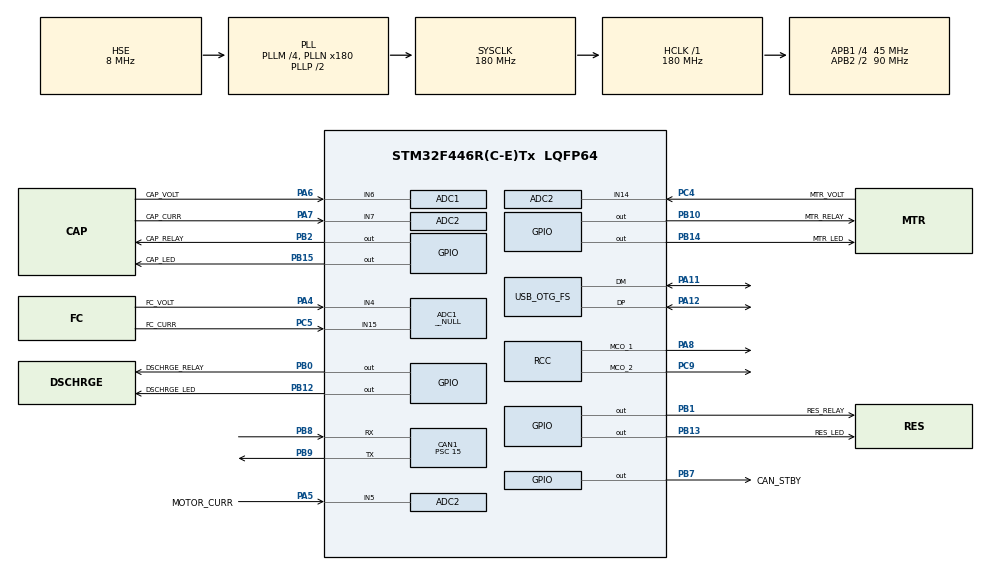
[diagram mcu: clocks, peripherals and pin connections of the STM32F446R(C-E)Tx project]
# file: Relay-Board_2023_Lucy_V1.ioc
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ADC1.Channel-0\#ChannelRegularConversion=ADC_CHANNEL_4
ADC1.Channel-1\#ChannelRegularConversion=ADC_CHANNEL_6
ADC1.Channel-2\#ChannelRegularConversion=ADC_CHANNEL_15
ADC1.ClockPrescaler=ADC_CLOCK_SYNC_PCLK_DIV4
ADC1.ContinuousConvMode=ENABLE
ADC1.DMAContinuousRequests=ENABLE
ADC1.EOCSelection=ADC_EOC_SINGLE_CONV
ADC1.Mode=__NULL
ADC1.NbrOfConversion=3
ADC1.NbrOfConversionFlag=1
ADC1.Rank-0\#ChannelRegularConversion=1
ADC1.Rank-1\#ChannelRegularConversion=2
ADC1.Rank-2\#ChannelRegularConversion=3
ADC1.SamplingTime-0\#ChannelRegularConversion=ADC_SAMPLETIME_480CYCLES
ADC1.SamplingTime-1\#ChannelRegularConversion=ADC_SAMPLETIME_480CYCLES
ADC1.SamplingTime-2\#ChannelRegularConversion=ADC_SAMPLETIME_480CYCLES
ADC1.ScanConvMode=ENABLE
ADC1.master=1
ADC2.Channel-0\#ChannelRegularConversion=ADC_CHANNEL_5
ADC2.Channel-1\#ChannelRegularConversion=ADC_CHANNEL_7
ADC2.Channel-2\#ChannelRegularConversion=ADC_CHANNEL_14
ADC2.ContinuousConvMode=ENABLE
ADC2.NbrOfConversion=3
ADC2.NbrOfConversionFlag=1
ADC2.Rank-0\#ChannelRegularConversion=1
ADC2.Rank-1\#ChannelRegularConversion=2
ADC2.Rank-2\#ChannelRegularConversion=3
ADC2.SamplingTime-0\#ChannelRegularConversion=ADC_SAMPLETIME_3CYCLES
ADC2.SamplingTime-1\#ChannelRegularConversion=ADC_SAMPLETIME_3CYCLES
ADC2.SamplingTime-2\#ChannelRegularConversion=ADC_SAMPLETIME_3CYCLES
ADC2.ScanConvMode=ENABLE
CAN1.BS1=CAN_BS1_1TQ
CAN1.BS2=CAN_BS2_1TQ
CAN1.CalculateBaudRate=1000000
CAN1.CalculateTimeBit=1000
CAN1.CalculateTimeQuantum=333.3333333333333
CAN1.Mode=CAN_MODE_LOOPBACK
CAN1.Prescaler=15
Dma.ADC1.1.Direction=DMA_PERIPH_TO_MEMORY
Dma.ADC1.1.FIFOMode=DMA_FIFOMODE_DISABLE
Dma.ADC1.1.Instance=DMA2_Stream0
Dma.ADC1.1.MemDataAlignment=DMA_MDATAALIGN_HALFWORD
Dma.ADC1.1.MemInc=DMA_MINC_ENABLE
Dma.ADC1.1.Mode=DMA_CIRCULAR
Dma.ADC1.1.PeriphDataAlignment=DMA_PDATAALIGN_HALFWORD
Dma.ADC1.1.PeriphInc=DMA_PINC_DISABLE
Dma.ADC1.1.Priority=DMA_PRIORITY_LOW
Dma.ADC2.0.Direction=DMA_PERIPH_TO_MEMORY
Dma.ADC2.0.FIFOMode=DMA_FIFOMODE_DISABLE
Dma.ADC2.0.Instance=DMA2_Stream2
Dma.ADC2.0.MemDataAlignment=DMA_MDATAALIGN_HALFWORD
Dma.ADC2.0.MemInc=DMA_MINC_ENABLE
Dma.ADC2.0.Mode=DMA_CIRCULAR
Dma.ADC2.0.PeriphDataAlignment=DMA_PDATAALIGN_HALFWORD
Dma.ADC2.0.PeriphInc=DMA_PINC_DISABLE
Dma.ADC2.0.Priority=DMA_PRIORITY_LOW
Dma.Request0=ADC2
Dma.Request1=ADC1
FREERTOS.BinarySemaphores01=canMsgReceivedSem,Dynamic,NULL
FREERTOS.HEAP_NUMBER=4
FREERTOS.Queues01=canRxMsgQueue,32,uint32_t,0,Dynamic,NULL,NULL
FREERTOS.Tasks01=RelayTask,24,128,StartRelayTask,Default,NULL,Static,RelayTaskBuffer,RelayTaskControlBlock;CanTask,24,128,StartCanTask,Default,NULL,Static,CanTaksBuffer,CanTaksControlBlock;AdcTask,24,128,StartAdcTask,Default,NULL,Static,AdcTaskBuffer,AdcTaskControlBlock
FREERTOS.configENABLE_FPU=1
FREERTOS.configUSE_NEWLIB_REENTRANT=1
Mcu.Family=STM32F4
Mcu.Name=STM32F446R(C-E)Tx
Mcu.Package=LQFP64
NVIC.ADC_IRQn=true\:5\:0\:false\:false\:true\:true\:true\:true\:true
NVIC.CAN1_RX0_IRQn=true\:5\:0\:false\:false\:true\:true\:true\:true\:true
NVIC.CAN1_RX1_IRQn=true\:5\:0\:false\:false\:true\:true\:true\:true\:true
NVIC.CAN1_TX_IRQn=true\:5\:0\:false\:false\:true\:true\:true\:true\:true
NVIC.DMA2_Stream0_IRQn=true\:5\:0\:false\:false\:true\:true\:false\:true\:true
NVIC.DMA2_Stream2_IRQn=true\:5\:0\:false\:false\:true\:true\:false\:true\:true
NVIC.OTG_FS_IRQn=true\:5\:0\:false\:false\:true\:true\:false\:true\:true
NVIC.PriorityGroup=NVIC_PRIORITYGROUP_4
NVIC.TIM1_UP_TIM10_IRQn=true\:15\:0\:false\:false\:true\:false\:false\:true\:true
NVIC.TimeBase=TIM1_UP_TIM10_IRQn
NVIC.TimeBaseIP=TIM1
PA11.Mode=Device_Only
PA11.Signal=USB_OTG_FS_DM
PA12.Mode=Device_Only
PA12.Signal=USB_OTG_FS_DP
PA13.Mode=Serial_Wire
PA13.Signal=SYS_JTMS-SWDIO
PA14.Mode=Serial_Wire
PA14.Signal=SYS_JTCK-SWCLK
PA4.GPIO_Label=FC_VOLT
PA4.Signal=ADCx_IN4
PA5.GPIO_Label=MOTOR_CURR
PA5.Signal=ADCx_IN5
PA6.GPIO_Label=CAP_VOLT
PA6.Signal=ADCx_IN6
PA7.GPIO_Label=CAP_CURR
PA7.Signal=ADCx_IN7
PA8.Mode=Clock-out-1
PA8.Signal=RCC_MCO_1
PB0.GPIO_Label=DSCHRGE_RELAY
PB0.Signal=GPIO_Output
PB1.GPIO_Label=RES_RELAY
PB1.Signal=GPIO_Output
PB10.GPIO_Label=MTR_RELAY
PB10.Signal=GPIO_Output
PB12.GPIO_Label=DSCHRGE_LED
PB12.Signal=GPIO_Output
PB13.GPIO_Label=RES_LED
PB13.Signal=GPIO_Output
PB14.GPIO_Label=MTR_LED
PB14.Signal=GPIO_Output
PB15.GPIO_Label=CAP_LED
PB15.Signal=GPIO_Output
PB2.GPIO_Label=CAP_RELAY
PB2.Signal=GPIO_Output
PB7.GPIO_Label=CAN_STBY
PB7.Signal=GPIO_Output
PB8.GPIO_PuPd=GPIO_PULLUP
PB8.Mode=CAN_Activate
PB8.Signal=CAN1_RX
PB9.GPIO_PuPd=GPIO_PULLUP
PB9.Mode=CAN_Activate
PB9.Signal=CAN1_TX
PC4.GPIO_Label=MTR_VOLT
PC4.Signal=ADCx_IN14
PC5.GPIO_Label=FC_CURR
PC5.Signal=ADCx_IN15
PC9.Mode=Clock-out-2
PC9.Signal=RCC_MCO_2
PH0-OSC_IN.Mode=HSE-External-Clock-Source
PH0-OSC_IN.Signal=RCC_OSC_IN
PH1-OSC_OUT.Mode=HSE-External-Clock-Source
PH1-OSC_OUT.Signal=RCC_OSC_OUT
ProjectManager.HeapSize=0x200
ProjectManager.StackSize=0x400
ProjectManager.TargetToolchain=Makefile
RCC.AHBFreq_Value=180000000
RCC.APB1CLKDivider=RCC_HCLK_DIV4
RCC.APB1Freq_Value=45000000
RCC.APB1TimFreq_Value=90000000
RCC.APB2CLKDivider=RCC_HCLK_DIV2
RCC.APB2Freq_Value=90000000
RCC.APB2TimFreq_Value=180000000
RCC.CortexFreq_Value=180000000
RCC.HCLKFreq_Value=180000000
RCC.HSE_VALUE=8000000
RCC.PLLM=4
RCC.PLLN=180
RCC.PLLQ=5
RCC.PLLSAIM=4
RCC.PLLSAIN=96
RCC.PLLSAIP=RCC_PLLSAIP_DIV4
RCC.RCC_MCO1Source=RCC_MCO1SOURCE_HSE
RCC.RCC_MCODiv2=RCC_MCODIV_5
RCC.SYSCLKFreq_VALUE=180000000
RCC.SYSCLKSource=RCC_SYSCLKSOURCE_PLLCLK
RCC.USBCLockSelection=RCC_CLK48CLKSOURCE_PLLSAIP
RCC.USBFreq_Value=48000000
RCC.VCOOutputFreq_Value=360000000
SH.ADCx_IN14.0=ADC2_IN14,IN14
SH.ADCx_IN15.0=ADC1_IN15,IN15
SH.ADCx_IN4.0=ADC1_IN4,IN4
SH.ADCx_IN5.0=ADC2_IN5,IN5
SH.ADCx_IN6.0=ADC1_IN6,IN6
SH.ADCx_IN7.0=ADC2_IN7,IN7
USB_DEVICE.CLASS_NAME_FS=CDC
USB_DEVICE.VirtualMode-CDC_FS=Cdc
USB_DEVICE.VirtualModeFS=Cdc_FS
USB_OTG_FS.VirtualMode=Device_Only
VP_FREERTOS_VS_CMSIS_V2.Mode=CMSIS_V2
VP_SYS_VS_tim1.Mode=TIM1
VP_USB_DEVICE_VS_USB_DEVICE_CDC_FS.Mode=CDC_FS
board=custom

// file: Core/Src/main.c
/* USER CODE BEGIN Header */
/**
 ******************************************************************************
 * @file           : main.c
 * @brief          : Main program body
 ******************************************************************************
 * @attention
 *
 * Copyright (c) 2024 STMicroelectronics.
 * All rights reserved.
 *
 * This software is licensed under terms that can be found in the LICENSE file
 * in the root directory of this software component.
 * If no LICENSE file comes with this software, it is provided AS-IS.
 *
 ******************************************************************************
 */
/* USER CODE END Header */
#include "main.h"
#include "cmsis_os.h"
#include "cmsis_os2.h"
#include "stm32f4xx_hal_adc.h"
#include "stm32f4xx_hal_can.h"
#include "usb_device.h"

/* USER CODE BEGIN Includes */
#include "canid.h"
#include "usbd_cdc_if.h"
#include <stdint.h>
/* USER CODE END Includes */

typedef StaticTask_t osStaticThreadDef_t;
/* USER CODE BEGIN PTD */
typedef enum {
  ALL_RELAY_OFF = 0x00,
  CAP_RELAY = 0x01,
  RES_RELAY = 0x02,
  DSCHRGE_RELAY = 0x04,
  MTR_RELAY = 0x08,
} relayBit_t;

typedef enum {
  RELAY_STBY = ALL_RELAY_OFF,
  RELAY_STRTP = RES_RELAY | DSCHRGE_RELAY,
  RELAY_CHRGE = RES_RELAY,
  RELAY_RUN = CAP_RELAY | DSCHRGE_RELAY | MTR_RELAY,
} rbState_t;

typedef struct {
  float fc_volt;
  float fc_curr;
  float mtr_volt;
  float mtr_curr;
  float cap_volt;
  float cap_curr;
} rbData_t;

typedef struct {
  uint8_t H2_OK;
} canData_t;

/* USER CODE END PTD */

/* USER CODE BEGIN PD */
#define CAN_MESSAGE_SENT_TIMEOUT_MS 500
#define CAN_ADD_TX_TIMEOUT_MS 5000

#define FULL_CAP_CHARGE_V 18

#define CAN_TX_MAILBOX_NONE 0x00000000U // Remove reference to tx mailbox
/* USER CODE END PD */

ADC_HandleTypeDef hadc1;
ADC_HandleTypeDef hadc2;
DMA_HandleTypeDef hdma_adc1;
DMA_HandleTypeDef hdma_adc2;

CAN_HandleTypeDef hcan1;

/* Definitions for RelayTask */
osThreadId_t RelayTaskHandle;
uint32_t RelayTaskBuffer[128];
osStaticThreadDef_t RelayTaskControlBlock;
const osThreadAttr_t RelayTask_attributes = {
    .name = "RelayTask",
    .cb_mem = &RelayTaskControlBlock,
    .cb_size = sizeof(RelayTaskControlBlock),
    .stack_mem = &RelayTaskBuffer[0],
    .stack_size = sizeof(RelayTaskBuffer),
    .priority = (osPriority_t)osPriorityNormal,
};
/* Definitions for CanTask */
osThreadId_t CanTaskHandle;
uint32_t CanTaskBuffer[128];
osStaticThreadDef_t CanTaksControlBlock;
const osThreadAttr_t CanTask_attributes = {
    .name = "CanTask",
    .cb_mem = &CanTaksControlBlock,
    .cb_size = sizeof(CanTaksControlBlock),
    .stack_mem = &CanTaskBuffer[0],
    .stack_size = sizeof(CanTaskBuffer),
    .priority = (osPriority_t)osPriorityNormal,
};
/* Definitions for AdcTask */
osThreadId_t AdcTaskHandle;
uint32_t AdcTaskBuffer[128];
osStaticThreadDef_t AdcTaskControlBlock;
const osThreadAttr_t AdcTask_attributes = {
    .name = "AdcTask",
    .cb_mem = &AdcTaskControlBlock,
    .cb_size = sizeof(AdcTaskControlBlock),
    .stack_mem = &AdcTaskBuffer[0],
    .stack_size = sizeof(AdcTaskBuffer),
    .priority = (osPriority_t)osPriorityNormal,
};
/* Definitions for canRxMsgQueue */
osMessageQueueId_t canRxMsgQueueHandle;
const osMessageQueueAttr_t canRxMsgQueue_attributes = {.name = "canRxMsgQueue"};
/* Definitions for canMsgReceivedSem */
osSemaphoreId_t canMsgReceivedSemHandle;
const osSemaphoreAttr_t canMsgReceivedSem_attributes = {
    .name = "canMsgReceivedSem"};
/* USER CODE BEGIN PV */
rbState_t rb_state = RELAY_STBY;
rbData_t relay_board_data;

volatile uint16_t adc1Results[3];
volatile uint16_t adc2Results[3];

CAN_RxHeaderTypeDef RxHeader;
uint8_t RxData[8];
uint32_t TxMailboxCanTask;
/* USER CODE END PV */

void SystemClock_Config(void);
static void MX_GPIO_Init(void);
static void MX_DMA_Init(void);
static void MX_CAN1_Init(void);
static void MX_ADC1_Init(void);
static void MX_ADC2_Init(void);
void StartRelayTask(void *argument);
void StartCanTask(void *argument);
void StartAdcTask(void *argument);

/* USER CODE BEGIN PFP */
int _write(int file, char *ptr, int len) {
  CDC_Transmit_FS((uint8_t *)ptr, (uint16_t)len);
  return len;
}

/**
 * The canRxMsqQueue is 32 items each slot with 4 bytes
 * in it. The StdID is a uint32_t according to HAL and the
 * RxData is 8 items of 1 byte each. Thus osMessageQueuePut
 * will add 4 items from RxData when you pass the pointer
 * to it.
 */
void HAL_CAN_RxFifo0MsgPendingCallback(CAN_HandleTypeDef *hcan) {
  HAL_CAN_GetRxMessage(hcan, CAN_RX_FIFO0, &RxHeader, RxData);
  if (osMessageQueueGetSpace(canRxMsgQueueHandle) == 0) {
    Error_Handler();
  }
  osMessageQueuePut(canRxMsgQueueHandle, &RxHeader.StdId, 0U, 0UL);
  // need condition for either 4 byte or 8 byte
  if (RxHeader.DLC == 0UL) {
    // Data request, don't add anything else to queue
  } else if (RxHeader.DLC <= 4UL) {
    osMessageQueuePut(canRxMsgQueueHandle, RxData, 0U, 0UL);
  } else {
    osMessageQueuePut(canRxMsgQueueHandle, RxData, 0U, 0UL);
    osMessageQueuePut(canRxMsgQueueHandle, RxData + 4, 0U, 0UL);
  }
}

void HAL_CAN_RxFifo1MsgPendingCallback(CAN_HandleTypeDef *hcan) {
  HAL_CAN_GetRxMessage(hcan, CAN_RX_FIFO1, &RxHeader, RxData);
  osMessageQueuePut(canRxMsgQueueHandle, &RxHeader.StdId, 0U, 0UL);
  // need condition for either 4 byte or 8 byte
  if (RxHeader.DLC == 0UL) {
    // Data request, don't add anything else to queue
  } else if (RxHeader.DLC <= 4UL) {
    osMessageQueuePut(canRxMsgQueueHandle, RxData, 0U, 0UL);
  } else {
    osMessageQueuePut(canRxMsgQueueHandle, RxData, 0U, 0UL);
    osMessageQueuePut(canRxMsgQueueHandle, RxData + 4, 0U, 0UL);
  }
}

/* Transmit Completed Callbacks for Message Sent Confirmations */
void HAL_CAN_TxMailbox0CompleteCallback(CAN_HandleTypeDef *hcan) {
  if (TxMailboxCanTask == CAN_TX_MAILBOX0) {
    osSemaphoreRelease(canMsgReceivedSemHandle);
    TxMailboxCanTask = CAN_TX_MAILBOX_NONE;
  }
}
void HAL_CAN_TxMailbox1CompleteCallback(CAN_HandleTypeDef *hcan) {
  if (TxMailboxCanTask == CAN_TX_MAILBOX1) {
    osSemaphoreRelease(canMsgReceivedSemHandle);
    TxMailboxCanTask = CAN_TX_MAILBOX_NONE;
  }
}
void HAL_CAN_TxMailbox2CompleteCallback(CAN_HandleTypeDef *hcan) {
  if (TxMailboxCanTask == CAN_TX_MAILBOX2) {
    osSemaphoreRelease(canMsgReceivedSemHandle);
    TxMailboxCanTask = CAN_TX_MAILBOX_NONE;
  }
}

// Counter for both DMA conversions to be Completed
// Utilized in ADC Thread below
uint32_t conversion_completed = 0;

void HAL_ADC_ConvCpltCallback(ADC_HandleTypeDef *hadc) {
  if (hadc->Instance == hadc1.Instance) {
    conversion_completed++;
  }
  if (hadc->Instance == hadc2.Instance) {
    conversion_completed++;
  }
}

HAL_StatusTypeDef HAL_CAN_SafeAddTxMessage(uint8_t *msg, uint32_t msg_id,
                                           uint32_t msg_length,
                                           uint32_t *TxMailbox, uint32_t rtr) {
#define CAN_ADD_TX_TIMEOUT_MS 5000

  uint32_t fc_tick;
  HAL_StatusTypeDef hal_stat;
  CAN_TxHeaderTypeDef TxHeader;

  // These will never change
  TxHeader.IDE = CAN_ID_STD;
  TxHeader.ExtId = 0;
  TxHeader.TransmitGlobalTime = DISABLE;

  // User will give us this information
  TxHeader.RTR = rtr;
  TxHeader.StdId = msg_id;
  TxHeader.DLC = msg_length;

  // Start a timer to check timeout conditions
  fc_tick = HAL_GetTick();

  /* Try to add a Tx message. Returns HAL_ERROR if there are no avail
   * mailboxes or if the peripheral is not initialized. */
  do {
    hal_stat = HAL_CAN_AddTxMessage(&hcan1, &TxHeader, msg, TxMailbox);
  } while (hal_stat != HAL_OK &&
           ((HAL_GetTick() - fc_tick) < CAN_ADD_TX_TIMEOUT_MS));

  return hal_stat;
}
/* USER CODE END PFP */

int main(void) {

  /* MCU Configuration--------------------------------------------------------*/

  /* Reset of all peripherals, Initializes the Flash interface and the Systick.
   */
  HAL_Init();

  /* Configure the system clock */
  SystemClock_Config();

  /* Initialize all configured peripherals */
  MX_GPIO_Init();
  MX_DMA_Init();
  MX_CAN1_Init();
  MX_ADC1_Init();
  MX_ADC2_Init();

  /* Init scheduler */
  osKernelInitialize();

  /* Create the semaphores(s) */
  /* creation of canMsgReceivedSem */
  canMsgReceivedSemHandle = osSemaphoreNew(1, 0, &canMsgReceivedSem_attributes);

  /* Create the queue(s) */
  /* creation of canRxMsgQueue */
  canRxMsgQueueHandle =
      osMessageQueueNew(32, sizeof(uint32_t), &canRxMsgQueue_attributes);

  /* Create the thread(s) */
  /* creation of RelayTask */
  RelayTaskHandle = osThreadNew(StartRelayTask, NULL, &RelayTask_attributes);

  /* creation of CanTask */
  CanTaskHandle = osThreadNew(StartCanTask, NULL, &CanTask_attributes);

  /* creation of AdcTask */
  AdcTaskHandle = osThreadNew(StartAdcTask, NULL, &AdcTask_attributes);

  /* Start scheduler */
  osKernelStart();

  /* We should never get here as control is now taken by the scheduler */
  /* Infinite loop */
  while (1) {

  }
}

void SystemClock_Config(void) {
  RCC_OscInitTypeDef RCC_OscInitStruct = {0};
  RCC_ClkInitTypeDef RCC_ClkInitStruct = {0};

  /** Configure the main internal regulator output voltage
   */
  __HAL_RCC_PWR_CLK_ENABLE();
  __HAL_PWR_VOLTAGESCALING_CONFIG(PWR_REGULATOR_VOLTAGE_SCALE1);

  /** Initializes the RCC Oscillators according to the specified parameters
   * in the RCC_OscInitTypeDef structure.
   */
  RCC_OscInitStruct.OscillatorType = RCC_OSCILLATORTYPE_HSE;
  RCC_OscInitStruct.HSEState = RCC_HSE_BYPASS;
  RCC_OscInitStruct.PLL.PLLState = RCC_PLL_ON;
  RCC_OscInitStruct.PLL.PLLSource = RCC_PLLSOURCE_HSE;
  RCC_OscInitStruct.PLL.PLLM = 4;
  RCC_OscInitStruct.PLL.PLLN = 180;
  RCC_OscInitStruct.PLL.PLLP = RCC_PLLP_DIV2;
  RCC_OscInitStruct.PLL.PLLQ = 5;
  RCC_OscInitStruct.PLL.PLLR = 2;
  if (HAL_RCC_OscConfig(&RCC_OscInitStruct) != HAL_OK) {
    Error_Handler();
  }

  /** Activate the Over-Drive mode
   */
  if (HAL_PWREx_EnableOverDrive() != HAL_OK) {
    Error_Handler();
  }

  /** Initializes the CPU, AHB and APB buses clocks
   */
  RCC_ClkInitStruct.ClockType = RCC_CLOCKTYPE_HCLK | RCC_CLOCKTYPE_SYSCLK |
                                RCC_CLOCKTYPE_PCLK1 | RCC_CLOCKTYPE_PCLK2;
  RCC_ClkInitStruct.SYSCLKSource = RCC_SYSCLKSOURCE_PLLCLK;
  RCC_ClkInitStruct.AHBCLKDivider = RCC_SYSCLK_DIV1;
  RCC_ClkInitStruct.APB1CLKDivider = RCC_HCLK_DIV4;
  RCC_ClkInitStruct.APB2CLKDivider = RCC_HCLK_DIV2;

  if (HAL_RCC_ClockConfig(&RCC_ClkInitStruct, FLASH_LATENCY_5) != HAL_OK) {
    Error_Handler();
  }
  HAL_RCC_MCOConfig(RCC_MCO1, RCC_MCO1SOURCE_HSE, RCC_MCODIV_1);
  HAL_RCC_MCOConfig(RCC_MCO2, RCC_MCO2SOURCE_SYSCLK, RCC_MCODIV_5);
}

static void MX_ADC1_Init(void) {

  ADC_ChannelConfTypeDef sConfig = {0};

  /** Configure the global features of the ADC (Clock, Resolution, Data
   * Alignment and number of conversion)
   */
  hadc1.Instance = ADC1;
  hadc1.Init.ClockPrescaler = ADC_CLOCK_SYNC_PCLK_DIV4;
  hadc1.Init.Resolution = ADC_RESOLUTION_12B;
  hadc1.Init.ScanConvMode = ENABLE;
  hadc1.Init.ContinuousConvMode = DISABLE;
  hadc1.Init.DiscontinuousConvMode = DISABLE;
  hadc1.Init.ExternalTrigConvEdge = ADC_EXTERNALTRIGCONVEDGE_NONE;
  hadc1.Init.ExternalTrigConv = ADC_SOFTWARE_START;
  hadc1.Init.DataAlign = ADC_DATAALIGN_RIGHT;
  hadc1.Init.NbrOfConversion = 3;
  hadc1.Init.DMAContinuousRequests = DISABLE;
  hadc1.Init.EOCSelection = ADC_EOC_SINGLE_CONV;
  if (HAL_ADC_Init(&hadc1) != HAL_OK) {
    Error_Handler();
  }

  /** Configure for the selected ADC regular channel its corresponding rank in
   * the sequencer and its sample time.
   */
  sConfig.Channel = ADC_CHANNEL_4;
  sConfig.Rank = 1;
  sConfig.SamplingTime = ADC_SAMPLETIME_480CYCLES;
  if (HAL_ADC_ConfigChannel(&hadc1, &sConfig) != HAL_OK) {
    Error_Handler();
  }

  /** Configure for the selected ADC regular channel its corresponding rank in
   * the sequencer and its sample time.
   */
  sConfig.Channel = ADC_CHANNEL_6;
  sConfig.Rank = 2;
  if (HAL_ADC_ConfigChannel(&hadc1, &sConfig) != HAL_OK) {
    Error_Handler();
  }

  /** Configure for the selected ADC regular channel its corresponding rank in
   * the sequencer and its sample time.
   */
  sConfig.Channel = ADC_CHANNEL_15;
  sConfig.Rank = 3;
  if (HAL_ADC_ConfigChannel(&hadc1, &sConfig) != HAL_OK) {
    Error_Handler();
  }
}

static void MX_ADC2_Init(void) {

  ADC_ChannelConfTypeDef sConfig = {0};

  /** Configure the global features of the ADC (Clock, Resolution, Data
   * Alignment and number of conversion)
   */
  hadc2.Instance = ADC2;
  hadc2.Init.ClockPrescaler = ADC_CLOCK_SYNC_PCLK_DIV4;
  hadc2.Init.Resolution = ADC_RESOLUTION_12B;
  hadc2.Init.ScanConvMode = ENABLE;
  hadc2.Init.ContinuousConvMode = DISABLE;
  hadc2.Init.DiscontinuousConvMode = DISABLE;
  hadc2.Init.ExternalTrigConvEdge = ADC_EXTERNALTRIGCONVEDGE_NONE;
  hadc2.Init.ExternalTrigConv = ADC_SOFTWARE_START;
  hadc2.Init.DataAlign = ADC_DATAALIGN_RIGHT;
  hadc2.Init.NbrOfConversion = 3;
  hadc2.Init.DMAContinuousRequests = DISABLE;
  hadc2.Init.EOCSelection = ADC_EOC_SINGLE_CONV;
  if (HAL_ADC_Init(&hadc2) != HAL_OK) {
    Error_Handler();
  }

  /** Configure for the selected ADC regular channel its corresponding rank in
   * the sequencer and its sample time.
   */
  sConfig.Channel = ADC_CHANNEL_5;
  sConfig.Rank = 1;
  sConfig.SamplingTime = ADC_SAMPLETIME_3CYCLES;
  if (HAL_ADC_ConfigChannel(&hadc2, &sConfig) != HAL_OK) {
    Error_Handler();
  }

  /** Configure for the selected ADC regular channel its corresponding rank in
   * the sequencer and its sample time.
   */
  sConfig.Channel = ADC_CHANNEL_7;
  sConfig.Rank = 2;
  if (HAL_ADC_ConfigChannel(&hadc2, &sConfig) != HAL_OK) {
    Error_Handler();
  }

  /** Configure for the selected ADC regular channel its corresponding rank in
   * the sequencer and its sample time.
   */
  sConfig.Channel = ADC_CHANNEL_14;
  sConfig.Rank = 3;
  if (HAL_ADC_ConfigChannel(&hadc2, &sConfig) != HAL_OK) {
    Error_Handler();
  }
}

static void MX_CAN1_Init(void) {

  hcan1.Instance = CAN1;
  hcan1.Init.Prescaler = 3;
  hcan1.Init.Mode = CAN_MODE_NORMAL;
  hcan1.Init.SyncJumpWidth = CAN_SJW_1TQ;
  hcan1.Init.TimeSeg1 = CAN_BS1_10TQ;
  hcan1.Init.TimeSeg2 = CAN_BS2_4TQ;
  hcan1.Init.TimeTriggeredMode = DISABLE;
  hcan1.Init.AutoBusOff = DISABLE;
  hcan1.Init.AutoWakeUp = DISABLE;
  hcan1.Init.AutoRetransmission = DISABLE;
  hcan1.Init.ReceiveFifoLocked = DISABLE;
  hcan1.Init.TransmitFifoPriority = DISABLE;
  if (HAL_CAN_Init(&hcan1) != HAL_OK) {
    Error_Handler();
  }
  /* USER CODE BEGIN CAN1_Init 2 */
  CAN_FilterTypeDef sFilterConfig;
  CAN_TxHeaderTypeDef TxHeader;
  uint8_t TxData[8];
  uint32_t TxMailbox;

  sFilterConfig.FilterBank = 0;
  sFilterConfig.FilterMode = CAN_FILTERMODE_IDMASK;
  sFilterConfig.FilterScale = CAN_FILTERSCALE_32BIT;
  sFilterConfig.FilterIdHigh = 0x100 << 5;
  sFilterConfig.FilterIdLow = 0x0000;
  sFilterConfig.FilterMaskIdHigh = 0x7FE << 5;
  sFilterConfig.FilterMaskIdLow = 0x0000;
  sFilterConfig.FilterFIFOAssignment = CAN_RX_FIFO0;
  sFilterConfig.FilterActivation = ENABLE;
  sFilterConfig.SlaveStartFilterBank = 14;

  if (HAL_CAN_ConfigFilter(&hcan1, &sFilterConfig) != HAL_OK) {
    /* Filter configuration Error */
    Error_Handler();
  }

  /*##-3- Start the CAN peripheral ###########################################*/
  if (HAL_CAN_Start(&hcan1) != HAL_OK) {
    /* Start Error */
    Error_Handler();
  }

  /*##-4- Start the Transmission process #####################################*/
  // TxHeader.StdId = 0x11;
  // TxHeader.RTR = CAN_RTR_DATA;
  // TxHeader.IDE = CAN_ID_STD;
  // TxHeader.DLC = 2;
  // TxHeader.TransmitGlobalTime = DISABLE;
  // TxData[0] = 0xCA;
  // TxData[1] = 0xFE;
  //
  // /* Request transmission */
  // if (HAL_CAN_AddTxMessage(&hcan1, &TxHeader, TxData, &TxMailbox) != HAL_OK)
  // {
  //   /* Transmission request Error */
  //   Error_Handler();
  // }
  //
  // /* Wait transmission complete */
  // while (HAL_CAN_GetTxMailboxesFreeLevel(&hcan1) != 3) {
  // }
  //
  // /*##-5- Start the Reception process
  // ########################################*/ if
  // (HAL_CAN_GetRxFifoFillLevel(&hcan1, CAN_RX_FIFO0) != 1) {
  //   /* Reception Missing */
  //   Error_Handler();
  // }
  //
  // if (HAL_CAN_GetRxMessage(&hcan1, CAN_RX_FIFO0, &RxHeader, RxData) !=
  // HAL_OK) {
  //   /* Reception Error */
  //   Error_Handler();
  // }
  //
  // if ((RxHeader.StdId != 0x11) || (RxHeader.RTR != CAN_RTR_DATA) ||
  //     (RxHeader.IDE != CAN_ID_STD) || (RxHeader.DLC != 2) ||
  //     ((RxData[0] << 8 | RxData[1]) != 0xCAFE)) {
  //   /* Rx message Error */
  //   // return HAL_ERROR;
  // }

  // return HAL_OK; /* Test Passed */

  /* USER CODE END CAN1_Init 2 */
}

static void MX_DMA_Init(void) {

  /* DMA controller clock enable */
  __HAL_RCC_DMA2_CLK_ENABLE();

  /* DMA interrupt init */
  /* DMA2_Stream0_IRQn interrupt configuration */
  HAL_NVIC_SetPriority(DMA2_Stream0_IRQn, 5, 0);
  HAL_NVIC_EnableIRQ(DMA2_Stream0_IRQn);
  /* DMA2_Stream2_IRQn interrupt configuration */
  HAL_NVIC_SetPriority(DMA2_Stream2_IRQn, 5, 0);
  HAL_NVIC_EnableIRQ(DMA2_Stream2_IRQn);
}

static void MX_GPIO_Init(void) {
  GPIO_InitTypeDef GPIO_InitStruct = {0};

  /* GPIO Ports Clock Enable */
  __HAL_RCC_GPIOC_CLK_ENABLE();
  __HAL_RCC_GPIOH_CLK_ENABLE();
  __HAL_RCC_GPIOA_CLK_ENABLE();
  __HAL_RCC_GPIOB_CLK_ENABLE();
  __HAL_RCC_GPIOD_CLK_ENABLE();

  /*Configure GPIO pin Output Level */
  HAL_GPIO_WritePin(GPIOB,
                    DSCHRGE_RELAY_Pin | RES_RELAY_Pin | CAP_RELAY_Pin |
                        MTR_RELAY_Pin | DSCHRGE_LED_Pin | RES_LED_Pin |
                        MTR_LED_Pin | CAP_LED_Pin | CAN_STBY_Pin,
                    GPIO_PIN_RESET);

  /*Configure GPIO pins : PC13 PC14 PC15 PC0
                           PC1 PC2 PC3 PC6
                           PC7 PC8 PC10 PC11
                           PC12 */
  GPIO_InitStruct.Pin = GPIO_PIN_13 | GPIO_PIN_14 | GPIO_PIN_15 | GPIO_PIN_0 |
                        GPIO_PIN_1 | GPIO_PIN_2 | GPIO_PIN_3 | GPIO_PIN_6 |
                        GPIO_PIN_7 | GPIO_PIN_8 | GPIO_PIN_10 | GPIO_PIN_11 |
                        GPIO_PIN_12;
  GPIO_InitStruct.Mode = GPIO_MODE_ANALOG;
  GPIO_InitStruct.Pull = GPIO_NOPULL;
  HAL_GPIO_Init(GPIOC, &GPIO_InitStruct);

  /*Configure GPIO pins : PA0 PA1 PA2 PA3
                           PA9 PA10 PA15 */
  GPIO_InitStruct.Pin = GPIO_PIN_0 | GPIO_PIN_1 | GPIO_PIN_2 | GPIO_PIN_3 |
                        GPIO_PIN_9 | GPIO_PIN_10 | GPIO_PIN_15;
  GPIO_InitStruct.Mode = GPIO_MODE_ANALOG;
  GPIO_InitStruct.Pull = GPIO_NOPULL;
  HAL_GPIO_Init(GPIOA, &GPIO_InitStruct);

  /*Configure GPIO pins : DSCHRGE_RELAY_Pin RES_RELAY_Pin CAP_RELAY_Pin
     MTR_RELAY_Pin DSCHRGE_LED_Pin RES_LED_Pin MTR_LED_Pin CAP_LED_Pin
                           CAN_STBY_Pin */
  GPIO_InitStruct.Pin = DSCHRGE_RELAY_Pin | RES_RELAY_Pin | CAP_RELAY_Pin |
                        MTR_RELAY_Pin | DSCHRGE_LED_Pin | RES_LED_Pin |
                        MTR_LED_Pin | CAP_LED_Pin | CAN_STBY_Pin;
  GPIO_InitStruct.Mode = GPIO_MODE_OUTPUT_PP;
  GPIO_InitStruct.Pull = GPIO_NOPULL;
  GPIO_InitStruct.Speed = GPIO_SPEED_FREQ_LOW;
  HAL_GPIO_Init(GPIOB, &GPIO_InitStruct);

  /*Configure GPIO pin : PC9 */
  GPIO_InitStruct.Pin = GPIO_PIN_9;
  GPIO_InitStruct.Mode = GPIO_MODE_AF_PP;
  GPIO_InitStruct.Pull = GPIO_NOPULL;
  GPIO_InitStruct.Speed = GPIO_SPEED_FREQ_LOW;
  GPIO_InitStruct.Alternate = GPIO_AF0_MCO;
  HAL_GPIO_Init(GPIOC, &GPIO_InitStruct);

  /*Configure GPIO pin : PA8 */
  GPIO_InitStruct.Pin = GPIO_PIN_8;
  GPIO_InitStruct.Mode = GPIO_MODE_AF_PP;
  GPIO_InitStruct.Pull = GPIO_NOPULL;
  GPIO_InitStruct.Speed = GPIO_SPEED_FREQ_LOW;
  GPIO_InitStruct.Alternate = GPIO_AF0_MCO;
  HAL_GPIO_Init(GPIOA, &GPIO_InitStruct);

  /*Configure GPIO pin : PD2 */
  GPIO_InitStruct.Pin = GPIO_PIN_2;
  GPIO_InitStruct.Mode = GPIO_MODE_ANALOG;
  GPIO_InitStruct.Pull = GPIO_NOPULL;
  HAL_GPIO_Init(GPIOD, &GPIO_InitStruct);

  /*Configure GPIO pins : PB3 PB4 PB5 PB6 */
  GPIO_InitStruct.Pin = GPIO_PIN_3 | GPIO_PIN_4 | GPIO_PIN_5 | GPIO_PIN_6;
  GPIO_InitStruct.Mode = GPIO_MODE_ANALOG;
  GPIO_InitStruct.Pull = GPIO_NOPULL;
  HAL_GPIO_Init(GPIOB, &GPIO_InitStruct);

}

void StartRelayTask(void *argument) {
  /* init code for USB_DEVICE */
  MX_USB_DEVICE_Init();
  HAL_CAN_ActivateNotification(&hcan1, CAN_IT_RX_FIFO0_MSG_PENDING);
  HAL_CAN_ActivateNotification(&hcan1, CAN_IT_RX_FIFO1_MSG_PENDING);
  HAL_CAN_ActivateNotification(&hcan1, CAN_IT_TX_MAILBOX_EMPTY);
  /* USER CODE BEGIN 5 */
  /* Infinite loop */
  rb_state = RELAY_STBY;
  for (;;) {
    switch (rb_state) {
    case RELAY_STBY:
      HAL_GPIO_WritePin(GPIOB,
                        DSCHRGE_RELAY_Pin | RES_RELAY_Pin | CAP_RELAY_Pin |
                            MTR_RELAY_Pin | DSCHRGE_LED_Pin | RES_LED_Pin |
                            MTR_LED_Pin | CAP_LED_Pin,
                        GPIO_PIN_RESET);
      break;
    case RELAY_STRTP:
      HAL_GPIO_WritePin(
          GPIOB, CAP_RELAY_Pin | MTR_RELAY_Pin | MTR_LED_Pin | CAP_LED_Pin,
          GPIO_PIN_RESET);
      HAL_GPIO_WritePin(GPIOB,
                        DSCHRGE_RELAY_Pin | RES_RELAY_Pin | DSCHRGE_LED_Pin |
                            RES_LED_Pin,
                        GPIO_PIN_SET);
      break;
    case RELAY_CHRGE:
      HAL_GPIO_WritePin(GPIOB,
                        DSCHRGE_RELAY_Pin | CAP_RELAY_Pin | MTR_RELAY_Pin |
                            DSCHRGE_LED_Pin | MTR_LED_Pin | CAP_LED_Pin,
                        GPIO_PIN_RESET);
      HAL_GPIO_WritePin(GPIOB, RES_RELAY_Pin | RES_LED_Pin, GPIO_PIN_SET);
      break;
    case RELAY_RUN:
      HAL_GPIO_WritePin(GPIOB, RES_RELAY_Pin | RES_LED_Pin, GPIO_PIN_RESET);
      HAL_GPIO_WritePin(GPIOB,
                        DSCHRGE_RELAY_Pin | CAP_RELAY_Pin | MTR_RELAY_Pin |
                            DSCHRGE_LED_Pin | MTR_LED_Pin | CAP_LED_Pin,
                        GPIO_PIN_SET);
      break;
    }

    osDelay(10);
  }
  /* USER CODE END 5 */
}

void StartCanTask(void *argument) {
  /* USER CODE BEGIN StartCanTask */
  /* Infinite loop */
  HAL_StatusTypeDef hal_stat;
  uint32_t queueData;
  uint32_t placeholder = 1;
  for (;;) {
    if (osMessageQueueGet(canRxMsgQueueHandle, &queueData, 0U, osWaitForever) ==
        osOK) {
      switch (queueData) {
      case RELAY_CONFIGURATION_ID:
        osMessageQueueGet(canRxMsgQueueHandle, &queueData, 0U, 10UL);
        rb_state = (uint8_t)queueData;
        hal_stat = HAL_CAN_SafeAddTxMessage((uint8_t *)&placeholder,
                                            RELAY_CONFIGURATION_ID, 4UL,
                                            &TxMailboxCanTask, CAN_RTR_DATA);
        break;
      case REQUEST_FOR_CAP_VOLTAGE:
        hal_stat = HAL_CAN_SafeAddTxMessage(
            (uint8_t *)&relay_board_data.cap_volt, REQUEST_FOR_CAP_VOLTAGE, 4UL,
            &TxMailboxCanTask, CAN_RTR_DATA);
      default:
        break;
      }
    }
    osDelay(10);
  }
  /* USER CODE END StartCanTask */
}

/* USER CODE BEGIN Header_StartAdcTask */
/** @brief Function implementing the AdcTask thread. @param argument: Not used
 * @retval None */
/* USER CODE END Header_StartAdcTask */
void StartAdcTask(void *argument) {
  /* USER CODE BEGIN StartAdcTask */
  const float ADC_VOLT_REF = 3.3F / 4096.0F;
  const float CURR_TRANSFER = 0.667F;
  const float VOLT_TRANSFER = 0.107F;
  const float VOLT_TO_CURR_UNI = 12.5F; // A/V
  const float VOLT_TO_CURR_BI = 25.0F; // A/V
  /* Infinite loop */
  adc1Results[0] = adc1Results[1] = adc1Results[2] = 0;
  adc2Results[0] = adc2Results[1] = adc2Results[2] = 0;
  HAL_ADC_Start_DMA(&hadc1, (uint32_t *)adc1Results, 3);
  HAL_ADC_Start_DMA(&hadc2, (uint32_t *)adc2Results, 3);
  HAL_ADC_GetValue

  for (;;) {
    if (conversion_completed == 2) {
      relay_board_data.fc_volt = adc1Results[0] * ADC_VOLT_REF / VOLT_TRANSFER;
      relay_board_data.cap_volt = adc1Results[1] * ADC_VOLT_REF / VOLT_TRANSFER;
      relay_board_data.fc_curr = ((adc1Results[2] * ADC_VOLT_REF / CURR_TRANSFER) - 0.5) * VOLT_TO_CURR_UNI;

      relay_board_data.mtr_curr = ((adc2Results[0] * ADC_VOLT_REF / CURR_TRANSFER) - 0.5) * VOLT_TO_CURR_UNI;
      relay_board_data.cap_curr = ((adc2Results[1] * ADC_VOLT_REF / CURR_TRANSFER) - 2.5) * VOLT_TO_CURR_BI;
      relay_board_data.mtr_volt = adc2Results[2] * ADC_VOLT_REF / VOLT_TRANSFER;

      conversion_completed = 0;

      HAL_ADC_Start_DMA(&hadc1, (uint32_t *)adc1Results, 3);
      HAL_ADC_Start_DMA(&hadc2, (uint32_t *)adc2Results, 3);
    }
    osDelay(10);
  }
  /* USER CODE END StartAdcTask */
}

void HAL_TIM_PeriodElapsedCallback(TIM_HandleTypeDef *htim) {
  if (htim->Instance == TIM1) {
    HAL_IncTick();
  }
}

void Error_Handler(void) {
  /* USER CODE BEGIN Error_Handler_Debug */
  /* User can add his own implementation to report the HAL error return state
   */
  __disable_irq();
  while (1) {
    HAL_GPIO_WritePin(GPIOB,
                      DSCHRGE_LED_Pin | RES_LED_Pin | MTR_LED_Pin | CAP_LED_Pin,
                      GPIO_PIN_RESET);
    HAL_Delay(100);
    HAL_GPIO_WritePin(GPIOB,
                      DSCHRGE_LED_Pin | RES_LED_Pin | MTR_LED_Pin | CAP_LED_Pin,
                      GPIO_PIN_SET);
    HAL_Delay(100);
  }
  /* USER CODE END Error_Handler_Debug */
}

#ifdef USE_FULL_ASSERT
/**
 * @brief  Reports the name of the source file and the source line number
 *         where the assert_param error has occurred.
 * @param  file: pointer to the source file name
 * @param  line: assert_param error line source number
 * @retval None
 */
void assert_failed(uint8_t *file, uint32_t line) {
  /* USER CODE BEGIN 6 */
  /* User can add his own implementation to report the file name and line
     number, ex: printf("Wrong parameters value: file %s on line %d\r\n",
     file, line) */
  /* USER CODE END 6 */
}
#endif /* USE_FULL_ASSERT */
